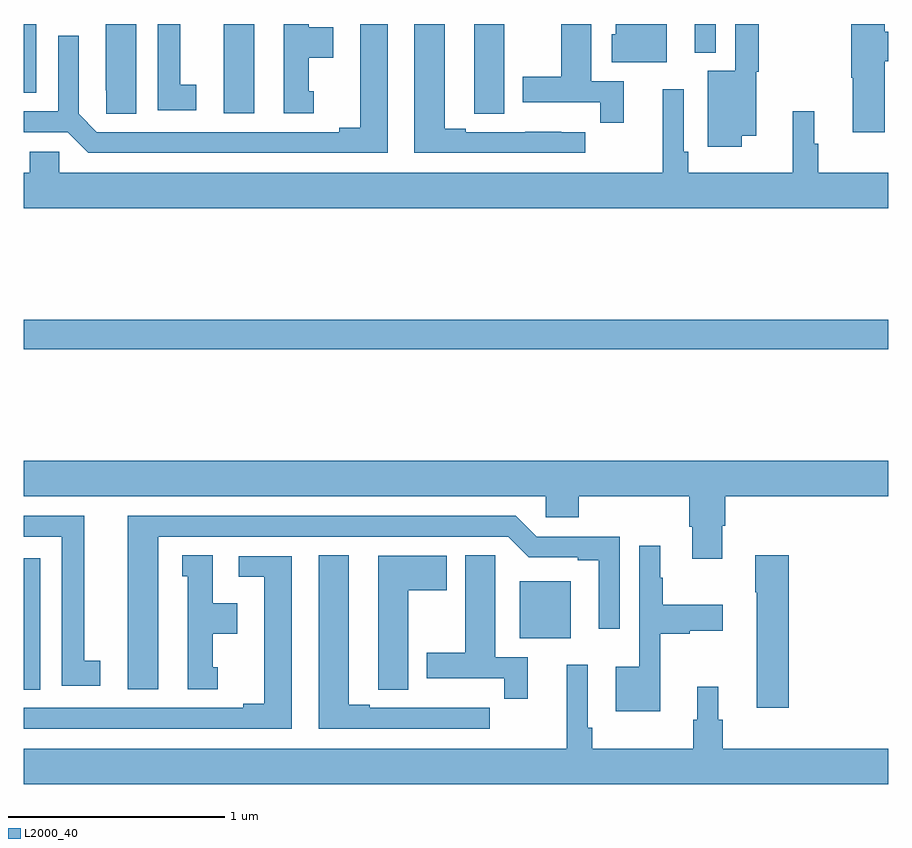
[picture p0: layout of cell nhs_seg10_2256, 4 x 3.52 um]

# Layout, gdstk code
import gdstk
lib = gdstk.Library(unit=1e-6, precision=1e-09)
def R(c, l, rs):  # rectangles x0, y0, x1, y1
    for r in rs: c.add(gdstk.rectangle(r[:2], r[2:], *l))
def P(c, l, *ps):  # polygons
    for p in ps: c.add(gdstk.Polygon(p, *l))
L2000_40 = (2000, 40)

nhs_seg10_2256 = lib.new_cell('nhs_seg10_2256')
R(nhs_seg10_2256, L2000_40, [(231,1299.421,231.076,1300.029), (233.294,1299.659,233.53,1299.922), (231,1300.996,235,1301.132), (231.926,1302.087,232.066,1302.5), (231,1302.181,231.058,1302.5), (234.104,1302.368,234.201,1302.5)])
P(nhs_seg10_2256, L2000_40, [(234.322,1301.984),(234.388,1301.984),(234.388,1302.279),(234.4,1302.279),(234.4,1302.5),(234.291,1302.5),(234.291,1302.283),(234.164,1302.283),(234.164,1301.931),(234.322,1301.931)],
  [(232.684,1302.5),(232.556,1302.5),(232.556,1302.02),(232.46,1302.02),(232.46,1302),(231.339,1302),(231.255,1302.084),(231.255,1302.445),(231.159,1302.445),(231.159,1302.096),(231,1302.096),(231,1302),(231.203,1302),(231.299,1301.904),(232.684,1301.904)],
  [(232.342,1302.189),(232.318,1302.189),(232.318,1302.344),(232.432,1302.344),(232.432,1302.484),(232.318,1302.484),(232.318,1302.5),(232.202,1302.5),(232.202,1302.087),(232.342,1302.087)],
  [(231.799,1302.218),(231.724,1302.218),(231.724,1302.5),(231.62,1302.5),(231.62,1302.102),(231.799,1302.102)],
  [(231.52,1302.5),(231.38,1302.5),(231.38,1302.193),(231.381,1302.193),(231.381,1302.085),(231.52,1302.085)],
  [(233.599,1302),(233.486,1302),(233.486,1302.001),(233.32,1302.001),(233.32,1302),(233.044,1302),(233.044,1302.015),(232.948,1302.015),(232.948,1302.5),(232.808,1302.5),(232.808,1301.904),(233.599,1301.904)],
  [(234.983,1302.328),(235,1302.328),(235,1302.464),(234.983,1302.464),(234.983,1302.5),(234.829,1302.5),(234.829,1302.251),(234.836,1302.251),(234.836,1302),(234.983,1302)],
  [(233.974,1302.5),(233.738,1302.5),(233.738,1302.453),(233.72,1302.453),(233.72,1302.323),(233.974,1302.323)],
  [(233.224,1302.5),(233.084,1302.5),(233.084,1302.193),(233.085,1302.193),(233.085,1302.085),(233.224,1302.085)],
  [(233.777,1302.234),(233.626,1302.234),(233.626,1302.5),(233.486,1302.5),(233.486,1302.255),(233.309,1302.255),(233.309,1302.138),(233.668,1302.138),(233.668,1302.042),(233.777,1302.042)],
  [(235,1301.812),(234.677,1301.812),(234.677,1301.946),(234.658,1301.946),(234.658,1302.097),(234.559,1302.097),(234.559,1301.812),(234.074,1301.812),(234.074,1301.908),(234.054,1301.908),(234.054,1302.199),(233.957,1302.199),(233.957,1301.812),(231.165,1301.812),(231.165,1301.91),(231.027,1301.91),(231.027,1301.812),(231,1301.812),(231,1301.648),(235,1301.648)],
  [(234.232,1300.179),(234.245,1300.179),(234.245,1300.316),(235,1300.316),(235,1300.48),(231,1300.48),(231,1300.316),(233.415,1300.316),(233.415,1300.218),(233.567,1300.218),(233.567,1300.316),(234.08,1300.316),(234.08,1300.174),(234.092,1300.174),(234.092,1300.026),(234.232,1300.026)],
  [(231.355,1299.554),(231.28,1299.554),(231.28,1300.224),(231,1300.224),(231,1300.128),(231.176,1300.128),(231.176,1299.438),(231.355,1299.438)],
  [(231.622,1300.128),(233.241,1300.128),(233.337,1300.032),(233.564,1300.032),(233.564,1300.02),(233.66,1300.02),(233.66,1299.702),(233.757,1299.702),(233.757,1300.128),(233.373,1300.128),(233.277,1300.224),(231.482,1300.224),(231.482,1299.423),(231.622,1299.423)],
  [(233.944,1299.68),(234.081,1299.68),(234.081,1299.692),(234.235,1299.692),(234.235,1299.814),(233.956,1299.814),(233.956,1299.938),(233.944,1299.938),(233.944,1300.087),(233.847,1300.087),(233.847,1299.526),(233.738,1299.526),(233.738,1299.32),(233.944,1299.32)],
  [(233.333,1299.57),(233.182,1299.57),(233.182,1299.932),(233.181,1299.932),(233.181,1300.043),(233.042,1300.043),(233.042,1299.591),(232.865,1299.591),(232.865,1299.474),(233.224,1299.474),(233.224,1299.378),(233.333,1299.378)],
  [(231.898,1299.525),(231.874,1299.525),(231.874,1299.68),(231.988,1299.68),(231.988,1299.82),(231.874,1299.82),(231.874,1300.043),(231.734,1300.043),(231.734,1299.945),(231.758,1299.945),(231.758,1299.423),(231.898,1299.423)],
  [(233.155,1299.336),(233.042,1299.336),(233.042,1299.337),(232.876,1299.337),(232.876,1299.336),(232.6,1299.336),(232.6,1299.351),(232.504,1299.351),(232.504,1300.043),(232.364,1300.043),(232.364,1299.24),(233.155,1299.24)],
  [(234.539,1300.042),(234.385,1300.042),(234.385,1299.872),(234.392,1299.872),(234.392,1299.336),(234.539,1299.336)],
  [(232.78,1299.88),(232.957,1299.88),(232.957,1300.039),(232.64,1300.039),(232.64,1299.529),(232.641,1299.529),(232.641,1299.421),(232.78,1299.421)],
  [(232.24,1300.038),(231.996,1300.038),(231.996,1299.942),(232.112,1299.942),(232.112,1299.356),(232.016,1299.356),(232.016,1299.336),(231,1299.336),(231,1299.24),(232.24,1299.24)],
  [(235,1299.148),(234.233,1299.148),(234.233,1299.282),(234.214,1299.282),(234.214,1299.433),(234.116,1299.433),(234.116,1299.282),(234.097,1299.282),(234.097,1299.148),(233.63,1299.148),(233.63,1299.244),(233.61,1299.244),(233.61,1299.535),(233.513,1299.535),(233.513,1299.148),(231,1299.148),(231,1298.984),(235,1298.984)])

lib.write_gds('nhs_seg10_2256.gds')
